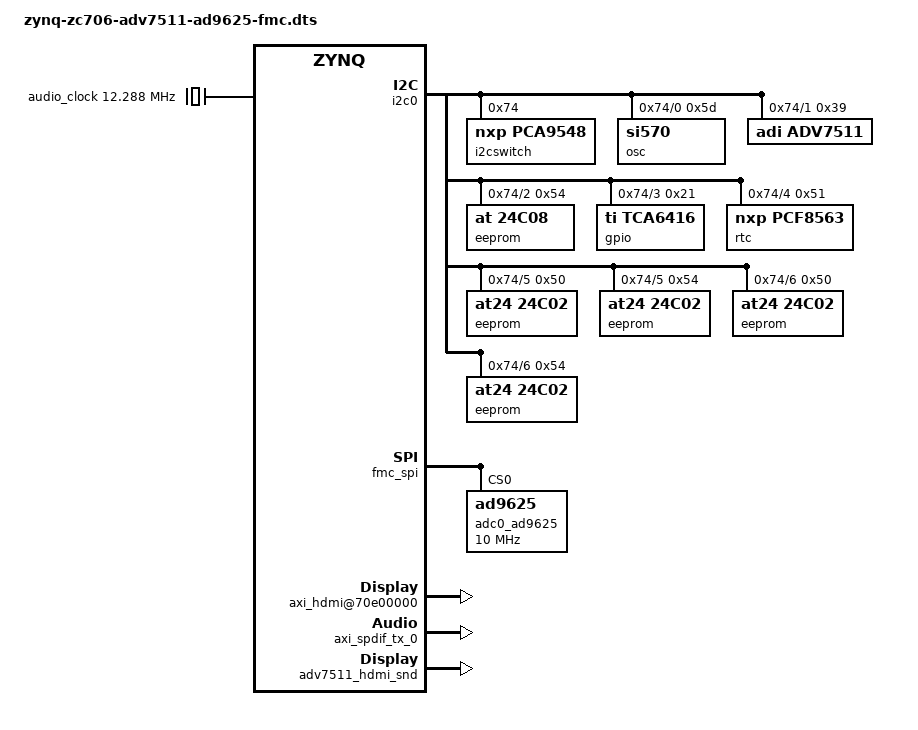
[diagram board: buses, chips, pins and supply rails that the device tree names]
/dts-v1/;

/include/ "zynq-zc706.dtsi"

/ {

	clocks {
		ad9625_clkin: clock@0 {
			#clock-cells = <0>;
			compatible = "fixed-clock";
			clock-frequency = <2500000000>;
			clock-output-names = "clkin";
		};
	};

	fpga_axi: fpga-axi@0 {
		compatible = "simple-bus";
		#address-cells = <0x1>;
		#size-cells = <0x1>;
		ranges;

		i2c0: i2c@0 {
			compatible = "xlnx,axi-iic-1.02.a", "xlnx,xps-iic-2.00.a";
			interrupt-parent = <&gic>;
			interrupts = <0 58 4>;
			reg = <0x41600000 0x10000>;
			#address-cells = <1>;
			#size-cells = <0>;

			i2cswitch@74 {
				compatible = "nxp,pca9548";
				#address-cells = <1>;
				#size-cells = <0>;
				reg = <0x74>;

				i2c@0 {
					#address-cells = <1>;
					#size-cells = <0>;
					reg = <0>;
					osc@5d {
						compatible = "si570";
						reg = <0x5d>;
						factory-fout = <156250000>;
						initial-fout = <148500000>;
					};
				};

				i2c@1 {
				    #address-cells = <1>;
				    #size-cells = <0>;
				    reg = <1>;

				    adv7511: adv7511 {
						compatible = "adi,adv7511";
						reg = <0x39>;

						adi,input-id = <0x00>;
						adi,input-style = <0x01>;
						adi,bit-justification = <0x00>;
						adi,input-color-depth = <0x3>;
						adi,sync-pulse = <0x03>;
						adi,up-conversion = <0x00>;
						adi,timing-generation-sequence = <0x00>;
						adi,vsync-polarity = <0x02>;
						adi,hsync-polarity = <0x02>;
						adi,tdms-clock-inversion;
						adi,clock-delay = <0x03>;
				    };
				};

				i2c@2 {
					#address-cells = <1>;
					#size-cells = <0>;
					reg = <2>;
					eeprom@54 {
						compatible = "at,24c08";
						reg = <0x54>;
					};
				};

				i2c@3 {
					#address-cells = <1>;
					#size-cells = <0>;
					reg = <3>;
					gpio@21 {
						compatible = "ti,tca6416";
						reg = <0x21>;
						gpio-controller;
						#gpio-cells = <2>;
					};
				};

				i2c@4 {
					#address-cells = <1>;
					#size-cells = <0>;
					reg = <4>;
					rtc@54 {
						compatible = "nxp,pcf8563";
						reg = <0x51>;
					};
				};

				i2c@5 { /* HPC IIC */
					#address-cells = <1>;
					#size-cells = <0>;
					reg = <5>;

					eeprom@50 {
						compatible = "at24,24c02";
						reg = <0x50>;
					};

					eeprom@54 {
						compatible = "at24,24c02";
						reg = <0x54>;
					};
				};

				i2c@6 { /* LPC IIC */
					#address-cells = <1>;
					#size-cells = <0>;
					reg = <6>;
					eeprom@50 {
						compatible = "at24,24c02";
						reg = <0x50>;
					};

					eeprom@54 {
						compatible = "at24,24c02";
						reg = <0x54>;
					};
				};
			};
		};

		fmc_spi: spi@e0006000 {
			bus-num = <1>;
			compatible = "cdns,spi-r1p6", "xlnx,zynq-spi-1.00.a", "xlnx,ps7-spi-1.00.a";
			interrupt-parent = <&gic>;
			interrupts = < 0 26 4 >;
			clock-names = "ref_clk", "aper_clk", "pclk";
			clocks = <&clkc 25>, <&clkc 34>, <&clkc 34>;
			num-chip-select = <2>;
			reg = < 0xe0006000 0x1000 >;
			speed-hz = <100000000>;
			xlnx,has-ss0 = <0x1>;
			xlnx,has-ss1 = <0x1>;
			xlnx,has-ss2 = <0x1>;
			xlnx,spi-clk-freq-hz = <100000000>;
			#address-cells = <1>;
			#size-cells = <0>;

			adc0_ad9625: ad9625@0 {
				#address-cells = <1>;
				#size-cells = <0>;
				compatible = "ad9625";
				reg = <0>;
				spi-max-frequency = <10000000>;
				clocks = <&axi_ad9625_jesd>, <&ad9625_clkin>;
				clock-names = "jesd_clk", "adc_clk";

			};
		};

		axi_vdma_0: axivdma@43000000 {
			#address-cells = <1>;
			#size-cells = <1>;
			#dma-cells = <1>;
			compatible = "xlnx,axi-vdma";
			reg = <0x43000000 0x1000>;
			xlnx,include-sg = <0x0>;
			xlnx,num-fstores = <0x3>;
			dma-channel@43000000 {
				compatible = "xlnx,axi-vdma-mm2s-channel";
				interrupts = <0 59 0x4>;
				xlnx,datawidth = <0x40>;
				xlnx,genlock-mode = <0x0>;
				xlnx,include-dre = <0x0>;
			};
		};

		hdmi_clock: axi-clkgen@79000000 {
			compatible = "adi,axi-clkgen-2.00.a";
			reg = <0x79000000 0x10000>;
			#clock-cells = <0>;
			clocks = <&clkc 16>;
		};

		axi_hdmi@70e00000 {
			compatible = "adi,axi-hdmi-tx-1.00.a";
			reg = <0x70e00000 0x10000>;
			encoder-slave = <&adv7511>;
			dmas = <&axi_vdma_0 0>;
			dma-names = "video";
			clocks = <&hdmi_clock>;
			adi,is-rgb;
		};

		audio_clock: audio_clock {
			compatible = "fixed-clock";
			#clock-cells = <0>;
			clock-frequency = <12288000>;
		};

		axi_spdif_tx_0: axi-spdif-tx@0x75c00000 {
			compatible = "adi,axi-spdif-tx-1.00.a";
			reg = <0x75c00000 0x1000>;
			dmas = <&ps7_dma 0>;
			dma-names = "tx";
			clocks = <&clkc 15>, <&audio_clock>, <&audio_clock>;
			clock-names = "axi", "ref", "spdif";
		};

		adv7511_hdmi_snd: adv7511_hdmi_snd {
			compatible = "adv7511-hdmi-snd";
			audio-codec = <&adv7511>;
			cpu-dai = <&axi_spdif_tx_0>;
		};

		rx_dma: rx-dmac@7c420000 {
			compatible = "adi,axi-dmac-1.00.a";
			reg = <0x7c420000 0x10000>;
			#dma-cells = <1>;
			interrupts = <0 57 0>;
			clocks = <&clkc 16>;

			dma-channel {
				adi,buswidth = <64>;
				adi,type = <0>;
			};
		};

		axi_ad9625_core: axi-ad9625-hpc@44a10000 {
			compatible = "adi,axi-ad9625-1.0";
			reg = < 0x44a10000 0x10000 >;
			dmas = <&rx_dma 0>;
			dma-names = "rx";
			spibus-connected = <&adc0_ad9625>;

			xlnx,pcore-device-type = <0x0>;
			xlnx,pcore-id = <0x0>;
			xlnx,pcore-iodelay-group = "adc_if_delay_group";
			xlnx,s-axi-min-size = <0xffff>;
		} ;

		axi_ad9625_jesd: axi-jesd204b-rx@44a91000 {
			#clock-cells = <0>;
			compatible = "xlnx,jesd204-5.1";
			reg = < 0x44a91000 0x1000 >;

			clocks = <&axi_daq2_gt 0>;
			clock-names = "gt_clk";
			clock-output-names = "jesd_clk";

			xlnx,gt-line-rate = "8.0";
			xlnx,gt-refclk-freq = "200.0";

			xlnx,lanes = <0x8>;
			xlnx,frames-per-multiframe = <32>;
			xlnx,bytes-per-frame = <1>;
			xlnx,subclass = <1>;
			xlnx,lanesync-enable;
			xlnx,scramble-enable;

			xlnx,lmfc-buffer-size = <0x6>;
			xlnx,node-is-transmit = <0x0>;
			xlnx,speedgrade = <0xfffffffe>;
			xlnx,supportlevel = <0x0>;
			xlnx,transceiver = "GTXE2";
			xlnx,transceivercontrol = "false";
			xlnx,use-bram = <0x1>;
			xlnx,use-jspat = "false";
			xlnx,use-rpat = "false";
		} ;

		axi_daq2_gt: axi-jesd-gt-rx-tx@44a60000 {
			#clock-cells = <1>;
			compatible = "xlnx,axi-jesd-gt-1.0";
			reg = < 0x44a60000 0x10000 >;

			clocks = <&ad9625_clkin>;
			clock-names = "adc_clk";
			clock-output-names = "adc_gt_clk";

			adi,rx-sys-clk-select = <0>;
			adi,rx-out-clk-select = <2>;
			adi,use-cpll-enable;

			xlnx,pcore-cpll-fbdiv = <0x2>;
			xlnx,pcore-device-type = <0x0>;
			xlnx,pcore-id = <0x0>;
			xlnx,pcore-num-of-lanes = <0x4>;
			xlnx,pcore-pma-rsv = <0x1e7080>;
			xlnx,pcore-qpll-cfg = "000011010000000000110000001";
			xlnx,pcore-qpll-fbdiv = <0x9000>;
			xlnx,pcore-qpll-fbdiv-ratio = <0x1>;
			xlnx,pcore-qpll-refclk-div = <0x1>;
			xlnx,pcore-rx-cdr-cfg = "0x0B000023FF10400020";
			xlnx,pcore-rx-clk25-div = <0x14>;
			xlnx,pcore-rx-out-div = <0x1>;
			xlnx,pcore-tx-clk25-div = <0x14>;
			xlnx,pcore-tx-out-div = <0x1>;
			xlnx,s-axi-min-size = <0xffff>;
		} ;
	};
};
